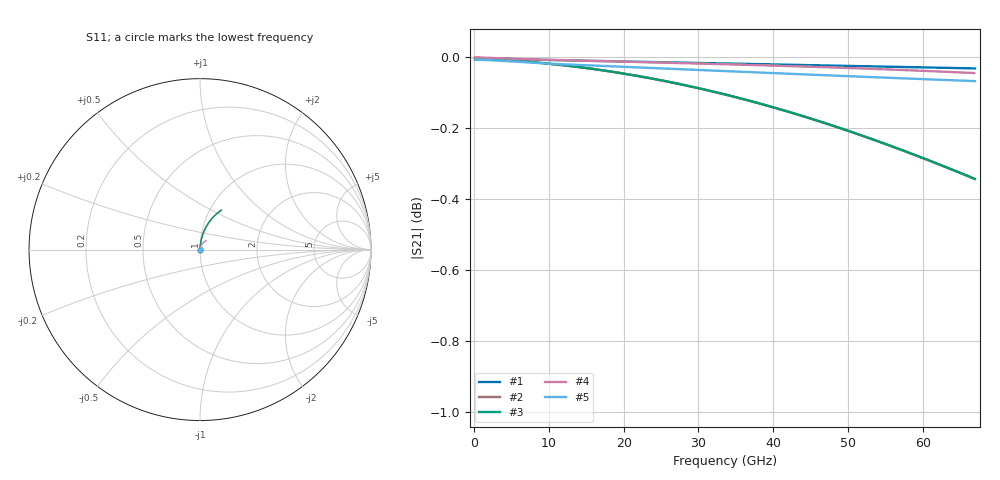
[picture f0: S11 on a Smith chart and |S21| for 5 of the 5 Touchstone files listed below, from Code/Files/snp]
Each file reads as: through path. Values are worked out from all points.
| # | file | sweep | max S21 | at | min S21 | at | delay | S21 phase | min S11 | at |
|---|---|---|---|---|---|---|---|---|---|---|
| 1 | MCURVE.s2p | 100 MHz to 67 GHz | 0.00 dB | 100 MHz | 0.0 dB | 67 GHz | 2.22 ps | -27 deg at 33.89 GHz | -67.0 dB | 100 MHz |
| 2 | MLIN_test.s2p | 100 MHz to 66.9 GHz | -0.01 dB | 1 GHz | -0.3 dB | 66.9 GHz | 1.16 ps | -14 deg at 33.5 GHz | -60.4 dB | 100 MHz |
| 3 | MLIN_test_02.s2p | 100 MHz to 67 GHz | -0.01 dB | 1 GHz | -0.3 dB | 67 GHz | 1.16 ps | -1 deg at 2.63 GHz | -60.4 dB | 100 MHz |
| 4 | MTAPER_test.s2p | 100 MHz to 66.9 GHz | 0.00 dB | 100 MHz | 0.0 dB | 66.9 GHz | 2.12 ps | -26 deg at 33.5 GHz | -75.1 dB | 100 MHz |
| 5 | MTRACE2.s2p | 100 MHz to 67 GHz | -0.01 dB | 100 MHz | -0.1 dB | 67 GHz | 4.71 ps | -57 deg at 33.89 GHz | -60.5 dB | 100 MHz |
